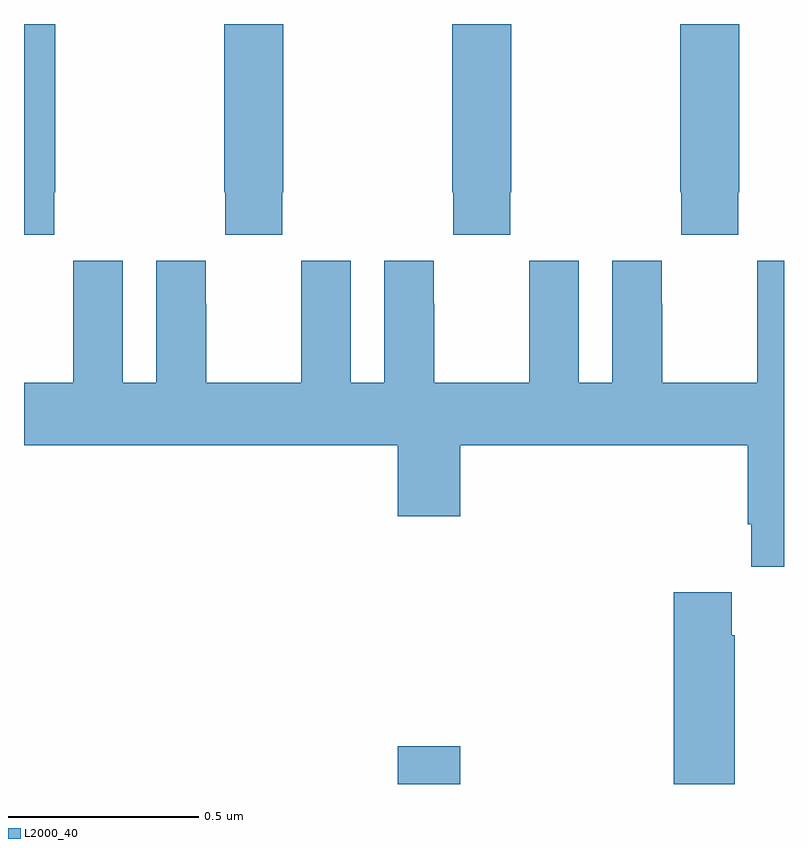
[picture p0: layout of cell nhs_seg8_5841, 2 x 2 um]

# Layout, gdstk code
import gdstk
lib = gdstk.Library(unit=1e-6, precision=1e-09)
def R(c, l, rs):  # rectangles x0, y0, x1, y1
    for r in rs: c.add(gdstk.rectangle(r[:2], r[2:], *l))
def P(c, l, *ps):  # polygons
    for p in ps: c.add(gdstk.Polygon(p, *l))
L2000_40 = (2000, 40)

nhs_seg8_5841 = lib.new_cell('nhs_seg8_5841')
R(nhs_seg8_5841, L2000_40, [(188.984,1156.9,189.148,1156.999)])
P(nhs_seg8_5841, L2000_40, [(188.079,1158.457),(188.082,1158.457),(188.082,1158.9),(188,1158.9),(188,1158.345),(188.079,1158.345)],
  [(188.679,1158.457),(188.682,1158.457),(188.682,1158.9),(188.527,1158.9),(188.527,1158.457),(188.529,1158.457),(188.529,1158.345),(188.679,1158.345)],
  [(189.279,1158.457),(189.282,1158.457),(189.282,1158.9),(189.127,1158.9),(189.127,1158.457),(189.129,1158.457),(189.129,1158.345),(189.279,1158.345)],
  [(189.879,1158.457),(189.882,1158.457),(189.882,1158.9),(189.727,1158.9),(189.727,1158.457),(189.729,1158.457),(189.729,1158.345),(189.879,1158.345)],
  [(190,1158.277),(189.93,1158.277),(189.93,1158.164),(189.929,1158.164),(189.929,1157.956),(189.679,1157.956),(189.679,1158.164),(189.678,1158.164),(189.678,1158.277),(189.548,1158.277),(189.548,1157.956),(189.46,1157.956),(189.46,1158.277),(189.33,1158.277),(189.33,1158.164),(189.329,1158.164),(189.329,1157.956),(189.079,1157.956),(189.079,1158.164),(189.078,1158.164),(189.078,1158.277),(188.948,1158.277),(188.948,1157.956),(188.86,1157.956),(188.86,1158.277),(188.73,1158.277),(188.73,1158.164),(188.729,1158.164),(188.729,1157.956),(188.479,1157.956),(188.479,1158.164),(188.478,1158.164),(188.478,1158.277),(188.348,1158.277),(188.348,1157.956),(188.26,1157.956),(188.26,1158.277),(188.13,1158.277),(188.13,1158.164),(188.129,1158.164),(188.129,1157.956),(188,1157.956),(188,1157.792),(188.984,1157.792),(188.984,1157.604),(189.148,1157.604),(189.148,1157.792),(189.905,1157.792),(189.905,1157.584),(189.914,1157.584),(189.914,1157.472),(190,1157.472)],
  [(189.87,1157.291),(189.863,1157.291),(189.863,1157.404),(189.71,1157.404),(189.71,1156.9),(189.87,1156.9)])

lib.write_gds('nhs_seg8_5841.gds')
